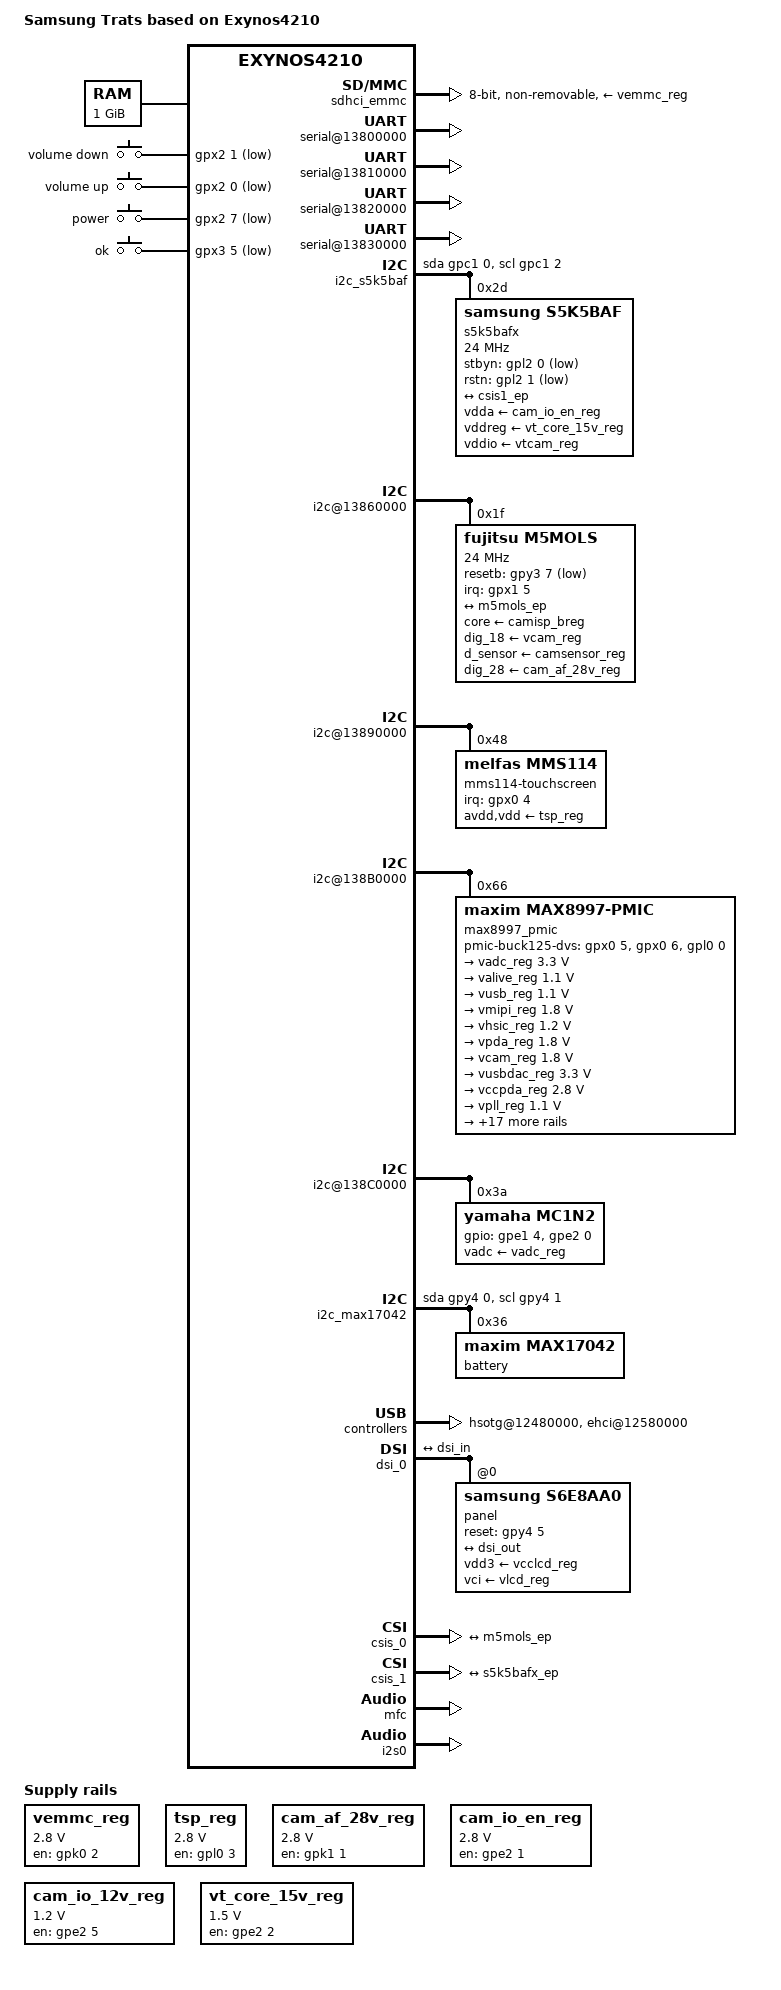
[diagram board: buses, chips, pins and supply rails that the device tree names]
/*
 * Samsung's Exynos4210 based Trats board device tree source
 *
 * Copyright (c) 2012 Samsung Electronics Co., Ltd.
 *		http://www.samsung.com
 *
 * Device tree source file for Samsung's Trats board which is based on
 * Samsung's Exynos4210 SoC.
 *
 * This program is free software; you can redistribute it and/or modify
 * it under the terms of the GNU General Public License version 2 as
 * published by the Free Software Foundation.
*/

/dts-v1/;
/include/ "exynos4210.dtsi"

/ {
	model = "Samsung Trats based on Exynos4210";
	compatible = "samsung,trats", "samsung,exynos4210";

	aliases {
		i2c8 = &i2c_s5k5baf;
		i2c9 = &i2c_max17042;
	};

	memory {
		reg =  <0x40000000 0x10000000
			0x50000000 0x10000000
			0x60000000 0x10000000
			0x70000000 0x10000000>;

		reserved-memory {
			#address-cells = <1>;
			#size-cells = <1>;

			contig_mem: region@72000000 {
				compatible = "linux,contiguous-memory-region";
				reg = <0x72000000 0xc000000>;
				linux,default-contiguous-region;
			};

			mfc_l_mem: mfc_l_region@43000000 {
				compatible = "linux,contiguous-memory-region", "reserved-memory-region";
				reg = <0x43000000 0x1000000>;
			};

			mfc_r_mem: mfc_r_region@51000000 {
				compatible = "linux,contiguous-memory-region", "reserved-memory-region";
				reg = <0x51000000 0x1000000>;
			};
		};
	};

	chosen {
		bootargs = "console=ttySAC2,115200N8 root=/dev/mmcblk0p5 rootwait earlyprintk panic=5";
	};

	fixed-rate-clocks {
		xxti {
			compatible = "samsung,clock-xxti", "fixed-clock";
			clock-frequency = <0>;
		};

		xusbxti {
			compatible = "samsung,clock-xusbxti", "fixed-clock";
			clock-frequency = <24000000>;
		};
	};

	regulators {
		compatible = "simple-bus";
		#address-cells = <1>;
		#size-cells = <0>;

		vemmc_reg: regulator@0 {
			compatible = "regulator-fixed";
			reg = <0>;
			regulator-name = "VMEM_VDD_2.8V";
			regulator-min-microvolt = <2800000>;
			regulator-max-microvolt = <2800000>;
			gpio = <&gpk0 2 0>;
			enable-active-high;
		};

		tsp_reg: regulator@1 {
			compatible = "regulator-fixed";
			reg = <1>;
			regulator-name = "TSP_FIXED_VOLTAGES";
			regulator-min-microvolt = <2800000>;
			regulator-max-microvolt = <2800000>;
			gpio = <&gpl0 3 0>;
			enable-active-high;
		};

		cam_af_28v_reg: regulator@2 {
			compatible = "regulator-fixed";
			reg = <2>;
			regulator-name = "8M_AF_2.8V_EN";
			regulator-min-microvolt = <2800000>;
			regulator-max-microvolt = <2800000>;
			gpio = <&gpk1 1 0>;
			enable-active-high;
		};

		cam_io_en_reg: regulator@3 {
			compatible = "regulator-fixed";
			reg = <3>;
			regulator-name = "CAM_IO_EN";
			regulator-min-microvolt = <2800000>;
			regulator-max-microvolt = <2800000>;
			gpio = <&gpe2 1 0>;
			enable-active-high;
		};

		cam_io_12v_reg: regulator@4 {
			compatible = "regulator-fixed";
			reg = <4>;
			regulator-name = "8M_1.2V_EN";
			regulator-min-microvolt = <1200000>;
			regulator-max-microvolt = <1200000>;
			gpio = <&gpe2 5 0>;
			enable-active-high;
		};

		vt_core_15v_reg: regulator@5 {
			compatible = "regulator-fixed";
			reg = <5>;
			regulator-name = "VT_CORE_1.5V";
			regulator-min-microvolt = <1500000>;
			regulator-max-microvolt = <1500000>;
			gpio = <&gpe2 2 0>;
			enable-active-high;
		};
	};

	sdhci_emmc: sdhci@12510000 {
		bus-width = <8>;
		non-removable;
		pinctrl-0 = <&sd0_clk &sd0_cmd &sd0_bus8>;
		pinctrl-names = "default";
		vmmc-supply = <&vemmc_reg>;
		status = "okay";
	};

	serial@13800000 {
		status = "okay";
	};

	serial@13810000 {
		status = "okay";
	};

	serial@13820000 {
		status = "okay";
	};

	serial@13830000 {
		status = "okay";
	};

	gpio-keys {
		compatible = "gpio-keys";

		vol-down-key {
			gpios = <&gpx2 1 1>;
			linux,code = <114>;
			label = "volume down";
			debounce-interval = <10>;
		};

		vol-up-key {
			gpios = <&gpx2 0 1>;
			linux,code = <115>;
			label = "volume up";
			debounce-interval = <10>;
		};

		power-key {
			gpios = <&gpx2 7 1>;
			linux,code = <116>;
			label = "power";
			debounce-interval = <10>;
			gpio-key,wakeup;
		};

		ok-key {
			gpios = <&gpx3 5 1>;
			linux,code = <352>;
			label = "ok";
			debounce-interval = <10>;
		};
	};

	i2c_s5k5baf: i2c-gpio {
		compatible = "i2c-gpio";
		gpios = <&gpc1 0 0>, <&gpc1 2 0>;
		i2c-gpio,delay-us = <2>;
		#address-cells = <1>;
		#size-cells = <0>;
		status = "okay";

		s5k5bafx@2d {
			compatible = "samsung,s5k5baf";
			reg = <0x2d>;
			vdda-supply = <&cam_io_en_reg>;
			vddreg-supply = <&vt_core_15v_reg>;
			vddio-supply = <&vtcam_reg>;
			clocks = <&camera 0>;
			clock-names = "mclk";
			stbyn-gpios = <&gpl2 0 1>;
			rstn-gpios = <&gpl2 1 1>;
			clock-frequency = <24000000>;

			port {
				s5k5bafx_ep: endpoint {
					remote-endpoint = <&csis1_ep>;
					data-lanes = <1>;
				};
			};
		};
	};

	i2c@13860000 {
		samsung,i2c-sda-delay = <100>;
		samsung,i2c-max-bus-freq = <400000>;
		pinctrl-0 = <&i2c0_bus>;
		pinctrl-names = "default";
		status = "okay";

		m5mols@1f {
			compatible = "fujitsu,m5mols";
			reg = <0x1f>;
			interrupt-parent = <&gpx1>;
			interrupts = <5 1>;
			core-supply = <&camisp_breg>;
			dig_18-supply = <&vcam_reg>;
			d_sensor-supply = <&camsensor_reg>;
			dig_28-supply = <&cam_af_28v_reg>;
			a_sensor-supply = <&cam_io_en_reg>;
			dig_12-supply = <&cam_io_12v_reg>;
			resetb-gpios = <&gpy3 7 1>;
			clocks = <&camera 0>;
			clock-names = "clkin";
			clock-frequency = <24000000>;

			port {
				m5mols_ep: endpoint {
					remote-endpoint = <&m5mols_ep>;
					data-lanes = <1 2 3 4>;
				};
			};
		};
	};

	i2c@13890000 {
		samsung,i2c-sda-delay = <100>;
		samsung,i2c-slave-addr = <0x10>;
		samsung,i2c-max-bus-freq = <400000>;
		pinctrl-0 = <&i2c3_bus>;
		pinctrl-names = "default";
		status = "okay";

		mms114-touchscreen@48 {
			compatible = "melfas,mms114";
			reg = <0x48>;
			interrupt-parent = <&gpx0>;
			interrupts = <4 2>;
			x-size = <720>;
			y-size = <1280>;
			x-invert;
			y-invert;
			avdd-supply = <&tsp_reg>;
			vdd-supply = <&tsp_reg>;
		};
	};

	i2c@138B0000 {
		samsung,i2c-sda-delay = <100>;
		samsung,i2c-slave-addr = <0x10>;
		samsung,i2c-max-bus-freq = <100000>;
		pinctrl-0 = <&i2c5_bus>;
		pinctrl-names = "default";
		status = "okay";

		max8997_pmic@66 {
			compatible = "maxim,max8997-pmic";

			reg = <0x66>;

			max8997,pmic-buck1-uses-gpio-dvs;
			max8997,pmic-buck2-uses-gpio-dvs;
			max8997,pmic-buck5-uses-gpio-dvs;

			max8997,pmic-ignore-gpiodvs-side-effect;
			max8997,pmic-buck125-default-dvs-idx = <0>;

			max8997,pmic-buck125-dvs-gpios = <&gpx0 5 0>,
						         <&gpx0 6 0>,
							 <&gpl0 0 0>;

			max8997,pmic-buck1-dvs-voltage = <1350000>, <1300000>,
							 <1250000>, <1200000>,
							 <1150000>, <1100000>,
							 <1000000>, <950000>;

			max8997,pmic-buck2-dvs-voltage = <1100000>, <1000000>,
							 <950000>,  <900000>,
							 <1100000>, <1000000>,
							 <950000>,  <900000>;

			max8997,pmic-buck5-dvs-voltage = <1200000>, <1200000>,
							 <1200000>, <1200000>,
							 <1200000>, <1200000>,
							 <1200000>, <1200000>;

			regulators {
				vadc_reg: LDO1 {
					regulator-name = "VADC_3.3V_C210";
					regulator-min-microvolt = <3300000>;
					regulator-max-microvolt = <3300000>;
					regulator-always-on;
				};

				valive_reg: LDO2 {
				     regulator-name = "VALIVE_1.1V_C210";
				     regulator-min-microvolt = <1100000>;
				     regulator-max-microvolt = <1100000>;
				     regulator-always-on;
				};

				vusb_reg: LDO3 {
					regulator-name = "VUSB_1.1V_C210";
					regulator-min-microvolt = <1100000>;
					regulator-max-microvolt = <1100000>;
					regulator-always-on;
				};

				vmipi_reg: LDO4 {
					regulator-name = "VMIPI_1.8V";
					regulator-min-microvolt = <1800000>;
					regulator-max-microvolt = <1800000>;
					regulator-always-on;
				};

				vhsic_reg: LDO5 {
					regulator-name = "VHSIC_1.2V";
					regulator-min-microvolt = <1200000>;
					regulator-max-microvolt = <1200000>;
					regulator-always-on;
				};

				vpda_reg: LDO6 {
				     regulator-name = "VCC_1.8V_PDA";
				     regulator-min-microvolt = <1800000>;
				     regulator-max-microvolt = <1800000>;
				     regulator-always-on;
				};

				vcam_reg: LDO7 {
				     regulator-name = "CAM_ISP_1.8V";
				     regulator-min-microvolt = <1800000>;
				     regulator-max-microvolt = <1800000>;
				};

				vusbdac_reg: LDO8 {
				     regulator-name = "VUSB_3.3V";
				     regulator-min-microvolt = <3300000>;
				     regulator-max-microvolt = <3300000>;
				     regulator-always-on;
				};

				vccpda_reg: LDO9 {
				     regulator-name = "VCC_2.8V_PDA";
				     regulator-min-microvolt = <2800000>;
				     regulator-max-microvolt = <2800000>;
				     regulator-always-on;
				};

				vpll_reg: LDO10 {
				     regulator-name = "VPLL_1.1V_C210";
				     regulator-min-microvolt = <1100000>;
				     regulator-max-microvolt = <1100000>;
				     regulator-always-on;
				};

				vtouch_reg: LDO11 {
					regulator-name = "TOUCH_2.8V";
					regulator-min-microvolt = <2800000>;
					regulator-max-microvolt = <2800000>;
				};

				vtcam_reg: LDO12 {
				     regulator-name = "VT_CAM_1.8V";
				     regulator-min-microvolt = <1800000>;
				     regulator-max-microvolt = <1800000>;
				};

				vcclcd_reg: LDO13 {
				     regulator-name = "VCC_3.0V_LCD";
				     regulator-min-microvolt = <3000000>;
				     regulator-max-microvolt = <3000000>;
				};

				vmotor_reg: LDO14 {
					regulator-name = "VCC_2.8V_MOTOR";
					regulator-min-microvolt = <2800000>;
					regulator-max-microvolt = <2800000>;
				};

				vlcd_reg: LDO15 {
					regulator-name = "VLCD_2.2V";
					regulator-min-microvolt = <2200000>;
					regulator-max-microvolt = <2200000>;
					regulator-always-on;
				};

				camsensor_reg: LDO16 {
				     regulator-name = "CAM_SENSOR_IO_1.8V";
				     regulator-min-microvolt = <1800000>;
				     regulator-max-microvolt = <1800000>;
				};

				vtf_reg: LDO17 {
					regulator-name = "VTF_2.8V";
					regulator-min-microvolt = <2800000>;
					regulator-max-microvolt = <2800000>;
				};

				vtouch_led_reg: LDO18 {
					regulator-name = "TOUCH_LED_3.3V";
					regulator-min-microvolt = <3000000>;
					regulator-max-microvolt = <3300000>;
				};

				vddq_reg: LDO21 {
				     regulator-name = "VDDQ_M1M2_1.2V";
				     regulator-min-microvolt = <1200000>;
				     regulator-max-microvolt = <1200000>;
				     regulator-always-on;
				};

				varm_breg: BUCK1 {
				     regulator-name = "VARM_1.2V_C210";
				     regulator-min-microvolt = <900000>;
				     regulator-max-microvolt = <1350000>;
				     regulator-always-on;
				};

				vint_breg: BUCK2 {
				     regulator-name = "VINT_1.1V_C210";
				     regulator-min-microvolt = <900000>;
				     regulator-max-microvolt = <1100000>;
				     regulator-always-on;
				};

				vg3d_breg: BUCK3 {
					regulator-name = "VG3D_1.1V_C210";
					regulator-min-microvolt = <850000>;
					regulator-max-microvolt = <1100000>;
				};

				camisp_breg: BUCK4 {
				     regulator-name = "CAM_ISP_CORE_1.2V";
				     regulator-min-microvolt = <1200000>;
				     regulator-max-microvolt = <1200000>;
				};

				vmem_breg: BUCK5 {
				     regulator-name = "VMEM_1.2V_C210";
				     regulator-min-microvolt = <1200000>;
				     regulator-max-microvolt = <1200000>;
				     regulator-always-on;
				};

				vccsub_breg: BUCK7 {
				     regulator-name = "VCC_SUB_2.0V";
				     regulator-min-microvolt = <2000000>;
				     regulator-max-microvolt = <2000000>;
				     regulator-always-on;
				};

				safe1_sreg: ESAFEOUT1 {
				     regulator-name = "SAFEOUT1";
				     regulator-always-on;
				};

				safe2_sreg: ESAFEOUT2 {
				     regulator-name = "SAFEOUT2";
				     regulator-boot-on;
				};
			};
		};
	};

	i2c@138C0000 {
		samsung,i2c-sda-delay = <100>;
		samsung,i2c-slave-addr = <0x10>;
		samsung,i2c-max-bus-freq = <400000>;
		pinctrl-0 = <&i2c6_bus>;
		pinctrl-names = "default";
		status = "okay";

		mc1n2: codec@3a {
			compatible = "yamaha,mc1n2";
			reg = <0x3a>;
			vadc-supply = <&vadc_reg>;
			gpios = <&gpe1 4 0>, <&gpe2 0 0>;
		};
	};

	i2c_max17042: i2c-gpio-0 {
		compatible = "i2c-gpio";
		gpios = <&gpy4 0 0>, <&gpy4 1 0>;
		i2c-gpio,delay-us = <5>;
		#address-cells = <1>;
		#size-cells = <0>;

		battery@36 {
			compatible = "maxim,max17042";
			reg = <0x36>;
			maxim,rsns-microohm = <10000>;
		};
	};

	hsotg@12480000 {
		status = "okay";
		vusb_d-supply = <&vusb_reg>;
		vusb_a-supply = <&vusbdac_reg>;
	};

	fixed-rate-clocks {
		xxti {
			compatible = "samsung,clock-xxti";
			clock-frequency = <0>;
		};

		xusbxti {
			compatible = "samsung,clock-xusbxti";
			clock-frequency = <24000000>;
		};
	};

	dsi_0: dsi@11C80000 {
		vddcore-supply = <&vusb_reg>;
		vddio-supply = <&vmipi_reg>;
		samsung,pll-clock-frequency = <24000000>;
		status = "okay";
		#address-cells = <1>;
		#size-cells = <0>;

		ports {
			#address-cells = <1>;
			#size-cells = <0>;

			port@1 {
				reg = <1>;

				dsi_out: endpoint {
					remote-endpoint = <&dsi_in>;
					samsung,burst-clock-frequency = <500000000>;
					samsung,esc-clock-frequency = <20000000>;
				};
			};
		};

		panel@0 {
			reg = <0>;
			compatible = "samsung,s6e8aa0";
			vdd3-supply = <&vcclcd_reg>;
			vci-supply = <&vlcd_reg>;
			reset-gpios = <&gpy4 5 0>;
			power-on-delay= <50>;
			reset-delay = <100>;
			init-delay = <100>;
			flip-horizontal;
			flip-vertical;
			panel-width-mm = <58>;
			panel-height-mm = <103>;

			display-timings {
				timing-0 {
					clock-frequency = <57153600>;
					hactive = <720>;
					vactive = <1280>;
					hfront-porch = <5>;
					hback-porch = <5>;
					hsync-len = <5>;
					vfront-porch = <13>;
					vback-porch = <1>;
					vsync-len = <2>;
				};
			};

			port {
				dsi_in: endpoint {
					remote-endpoint = <&dsi_out>;
				};
			};
		};
	};

	fimd@11c00000 {
		status = "okay";
	};

	camera {
		status = "okay";

		pinctrl-names = "default";
		pinctrl-0 = <&cam_port_a_clk>;

		fimc_0: fimc@11800000 {
			status = "okay";
		};

		fimc_1: fimc@11810000 {
			status = "okay";
		};

		fimc_2: fimc@11820000 {
			status = "okay";
		};

		fimc_3: fimc@11830000 {
			status = "okay";
		};

		csis_0: csis@11880000 {
			status = "okay";
			vddcore-supply = <&vusb_reg>;
			vddio-supply = <&vmipi_reg>;
			clock-frequency = <160000000>;
			#address-cells = <1>;
			#size-cells = <0>;

			/* Camera C (3) MIPI CSI-2 (CSIS0) */
			port@3 {
				reg = <3>;
				csis0_ep: endpoint {
					remote-endpoint = <&m5mols_ep>;
					data-lanes = <1 2>;
					samsung,csis-hs-settle = <12>;
				};
			};
		};

		csis_1: csis@11890000 {
			status = "okay";
			vddcore-supply = <&vusb_reg>;
			vddio-supply = <&vmipi_reg>;
			clock-frequency = <160000000>;
			#address-cells = <1>;
			#size-cells = <0>;

			/* MIPI-CSIS1 */
			port@4 {
				reg = <4>;
				csis1_ep: endpoint {
					remote-endpoint = <&s5k5bafx_ep>;
					data-lanes = <1>;
					samsung,csis-hs-settle = <6>;
				};
			};
		};
	};

	mfc: codec@13400000 {
		status = "okay";

		memport@0 {
			memory-region = <&mfc_l_mem>;
		};

		memport@1 {
			memory-region = <&mfc_r_mem>;
		};
	};

	i2s0: i2s@03830000 {
		pinctrl-0 = <&i2s0_bus>;
		pinctrl-names = "default";
		status = "okay";
	};

	sound {
		compatible = "samsung,u1-platform-snd";
		clocks = <&clock 2>, <&clock 395>, <&clock 21>;
		clock-names = "parent", "out-mux", "out";
		samsung,i2s-controller = <&i2s0>;
		samsung,audio-codec = <&mc1n2>;
	};

	cpufreq {
		/* No freq_table property to use default table. */
		vdd_arm-supply = <&varm_breg>;
		status = "okay";
	};

	gpu@13000000 {
		status = "okay";
		vdd_g3d-supply = <&vg3d_breg>;
	};

	ehci@12580000 {
		status = "okay";
		vusb_d-supply = <&vusb_reg>;
		vusb_a-supply = <&vusbdac_reg>;
		port@0 {
			status = "okay";
		};
	};

	exynos-usbphy@125B0000 {
		status = "okay";
	};
};
